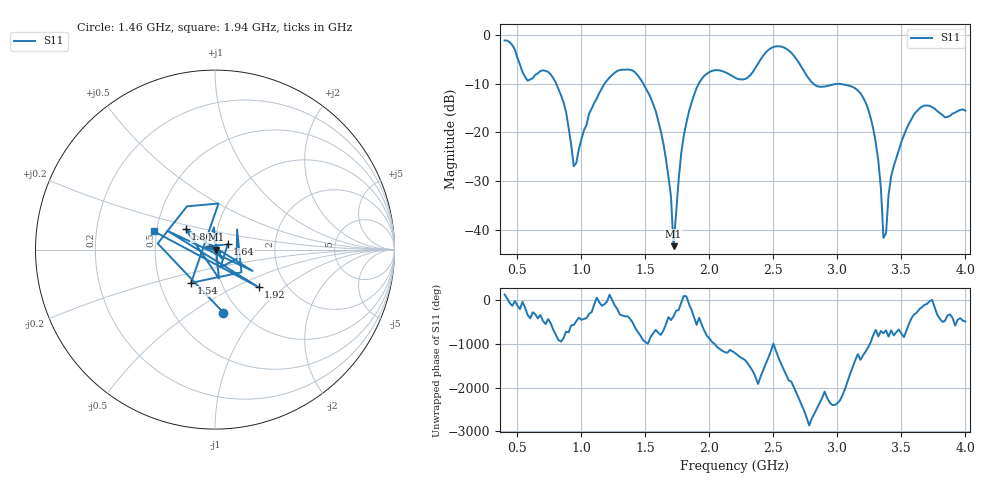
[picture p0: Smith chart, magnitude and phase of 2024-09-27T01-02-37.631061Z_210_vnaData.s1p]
!Created with skrf (http://scikit-rf.org).
# Hz S RI R 50.0
!freq ReS11 ImS11
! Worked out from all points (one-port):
!   181 points, 400 MHz to 4 GHz, reference 50 ohm
!   lowest |S11| = -43.3 dB at 1.72 GHz (marker M1), VSWR 1.01, Z = 50.7 - j0.0767 ohm
!   |S11| at or under -10 dB: 802.9 MHz to 1.181 GHz (377.7 MHz wide, 38.1 % of centre); 1.483 GHz to 1.918 GHz (435 MHz wide, 25.6 % of centre); 2.811 GHz to end of sweep
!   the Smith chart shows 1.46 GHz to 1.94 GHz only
!   S11 on the Smith chart (normalised r, x): 1.46 GHz: 0.85, -0.68; 1.54 GHz: 0.72, -0.28; 1.64 GHz: 1.15, +0.07; 1.86 GHz: 0.70, +0.17; 1.92 GHz: 1.45, -0.68; 1.94 GHz: 0.49, +0.11
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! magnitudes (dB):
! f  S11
! 400 MHz  -1.2
! 580 MHz  -9.4
! 740 MHz  -7.6
! 860 MHz  -13.8
! 940 MHz  -26.9
! 1.1 GHz  -14.0
! 1.3 GHz  -7.2
! 1.46 GHz  -9.0
! 1.54 GHz  -12.8
! 1.64 GHz  -22.2
! 1.7 GHz  -33.2
! 1.72 GHz  -43.3
! 1.76 GHz  -29.7
! 1.86 GHz  -14.0
! 1.92 GHz  -9.9
! 1.94 GHz  -9.0
! 2.2 GHz  -8.8
! 2.5 GHz  -2.5
! 2.66 GHz  -4.3
! 2.84 GHz  -10.5
! 3.1 GHz  -10.5
! 3.28 GHz  -19.3
! 3.32 GHz  -25.9
! 3.36 GHz  -41.6
! 3.38 GHz  -40.7
! 3.42 GHz  -29.0
! 3.56 GHz  -18.2
! 4 GHz  -15.6
